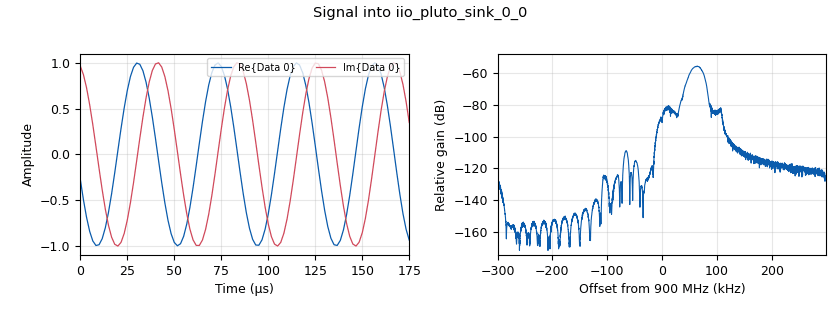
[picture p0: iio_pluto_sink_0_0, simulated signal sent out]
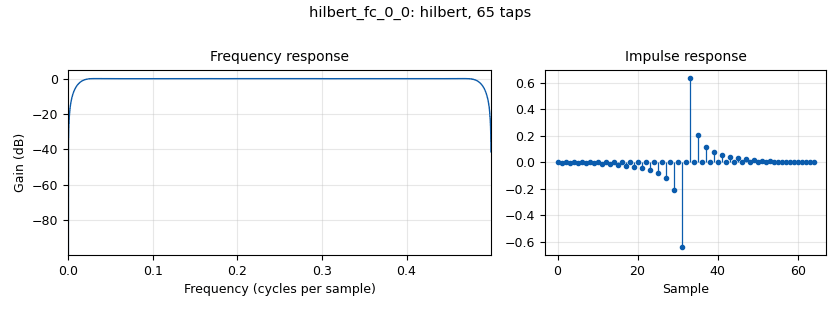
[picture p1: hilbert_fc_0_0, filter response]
options:
  parameters:
    generate_options: qt_gui
    id: chirp_radar_sim_2
    output_language: python
    title: Not titled yet
  states: {}

blocks:
- name: Max_Delta_Freq
  id: variable
  parameters:
    value: PRF*2*Max_Range*bw*1e8/(3e8)
  states: {}
- name: Max_Range
  id: variable
  parameters:
    value: 0.5*3e8/PRF
  states: {}
- name: Min_Delta_Freq
  id: variable
  parameters:
    value: PRF*2*R_resolution*bw*1e8/(3e8)
  states: {}
- name: PRF
  id: variable
  parameters:
    value: 5e5
  states: {}
- name: R_resolution
  id: variable
  parameters:
    value: (3e8)/(2*bw*1e8)
  states: {}
- name: bw
  id: variable
  parameters:
    value: '8'
  states: {}
- name: delay_fake
  id: variable_qtgui_range
  parameters:
    label: Calibration
    orient: Qt.Horizontal
    rangeType: int
    start: '0'
    step: '1'
    stop: int(10e6)
    value: int((2*samp_rate_sdr/500))
  states: {}
- name: fft_size
  id: variable
  parameters:
    value: int(8192*2)
  states: {}
- name: samp_rate
  id: variable
  parameters:
    value: 4400e6
  states: {}
- name: samp_rate_sdr
  id: variable
  parameters:
    value: int(600e3)
  states: {}
- name: analog_sig_source_x_0_0
  id: analog_sig_source_x
  parameters:
    amp: '1'
    freq: PRF
    offset: '0'
    phase: '0'
    samp_rate: samp_rate
    type: float
    waveform: analog.GR_SAW_WAVE
  states: {}
- name: blocks_complex_to_real_0_0_0
  id: blocks_complex_to_real
  parameters: {}
  states: {}
- name: blocks_complex_to_real_0_0_0_0
  id: blocks_complex_to_real
  parameters: {}
  states: {}
- name: blocks_delay_0_0
  id: blocks_delay
  parameters:
    delay: delay_fake
    type: complex
  states: {}
- name: blocks_float_to_complex_0
  id: blocks_float_to_complex
  parameters: {}
  states: {}
- name: blocks_float_to_complex_0_0
  id: blocks_float_to_complex
  parameters: {}
  states: {}
- name: blocks_stream_to_vector_0_0
  id: blocks_stream_to_vector
  parameters:
    num_items: fft_size
    type: float
  states: {}
- name: blocks_stream_to_vector_0_0_0
  id: blocks_stream_to_vector
  parameters:
    num_items: fft_size
    type: float
  states: {}
- name: blocks_vco_f_0_0
  id: blocks_vco_f
  parameters:
    amplitude: '1'
    samp_rate: samp_rate
    sensitivity: int(bw*628000000)
  states: {}
- name: chirp_radar_max_freq_peak_detector_ff_0_0
  id: chirp_radar_max_freq_peak_detector_ff
  parameters:
    f_max: Max_Delta_Freq
    f_min: '0'
    fft_size: fft_size
    sampling_rate: samp_rate
  states: {}
- name: chirp_radar_max_freq_peak_detector_ff_0_0_0
  id: chirp_radar_max_freq_peak_detector_ff
  parameters:
    f_max: Max_Delta_Freq
    f_min: '0'
    fft_size: fft_size
    sampling_rate: samp_rate
  states: {}
- name: hilbert_fc_0_0
  id: hilbert_fc
  parameters:
    num_taps: '64'
    win: firdes.WIN_HAMMING
  states: {}
- name: iio_pluto_sink_0_0
  id: iio_pluto_sink
  parameters:
    attenuation1: '0'
    auto_filter: 'True'
    bandwidth: '200000'
    buffer_size: int(samp_rate_sdr/1e2)
    cyclic: 'False'
    frequency: '900000000'
    samplerate: samp_rate_sdr
  states: {}
- name: iio_pluto_source_0_0
  id: iio_pluto_source
  parameters:
    auto_filter: 'True'
    bandwidth: '200000'
    bbdc: 'True'
    buffer_size: int(samp_rate_sdr/100)
    frequency: '3500000000'
    gain1: '''fast_attack'''
    manual_gain1: '100'
    quadrature: 'False'
    rfdc: 'True'
    samplerate: samp_rate_sdr
  states: {}
- name: qtgui_time_sink_x_0
  id: qtgui_time_sink_x
  parameters:
    size: '60000'
    srate: samp_rate
    type: complex
    update_time: '5'
  states: {}
- name: qtgui_time_sink_x_0_0_0
  id: qtgui_time_sink_x
  parameters:
    autoscale: 'True'
    grid: 'True'
    name: '"Freq"'
    size: int(fft_size)
    srate: samp_rate/fft_size
    type: complex
    ylabel: Distance
  states: {}

connections:
- [analog_sig_source_x_0_0, '0', blocks_vco_f_0_0, '0']
- [blocks_complex_to_real_0_0_0, '0', blocks_float_to_complex_0_0, '1']
- [blocks_complex_to_real_0_0_0, '0', blocks_stream_to_vector_0_0, '0']
- [blocks_complex_to_real_0_0_0_0, '0', blocks_float_to_complex_0_0, '0']
- [blocks_complex_to_real_0_0_0_0, '0', blocks_stream_to_vector_0_0_0, '0']
- [blocks_delay_0_0, '0', blocks_complex_to_real_0_0_0_0, '0']
- [blocks_float_to_complex_0, '0', qtgui_time_sink_x_0_0_0, '0']
- [blocks_float_to_complex_0_0, '0', qtgui_time_sink_x_0, '0']
- [blocks_stream_to_vector_0_0, '0', chirp_radar_max_freq_peak_detector_ff_0_0, '0']
- [blocks_stream_to_vector_0_0_0, '0', chirp_radar_max_freq_peak_detector_ff_0_0_0, '0']
- [blocks_vco_f_0_0, '0', hilbert_fc_0_0, '0']
- [chirp_radar_max_freq_peak_detector_ff_0_0, '0', blocks_float_to_complex_0, '1']
- [chirp_radar_max_freq_peak_detector_ff_0_0_0, '0', blocks_float_to_complex_0, '0']
- [hilbert_fc_0_0, '0', blocks_delay_0_0, '0']
- [hilbert_fc_0_0, '0', iio_pluto_sink_0_0, '0']
- [iio_pluto_source_0_0, '0', blocks_complex_to_real_0_0_0, '0']

metadata:
  file_format: 1
